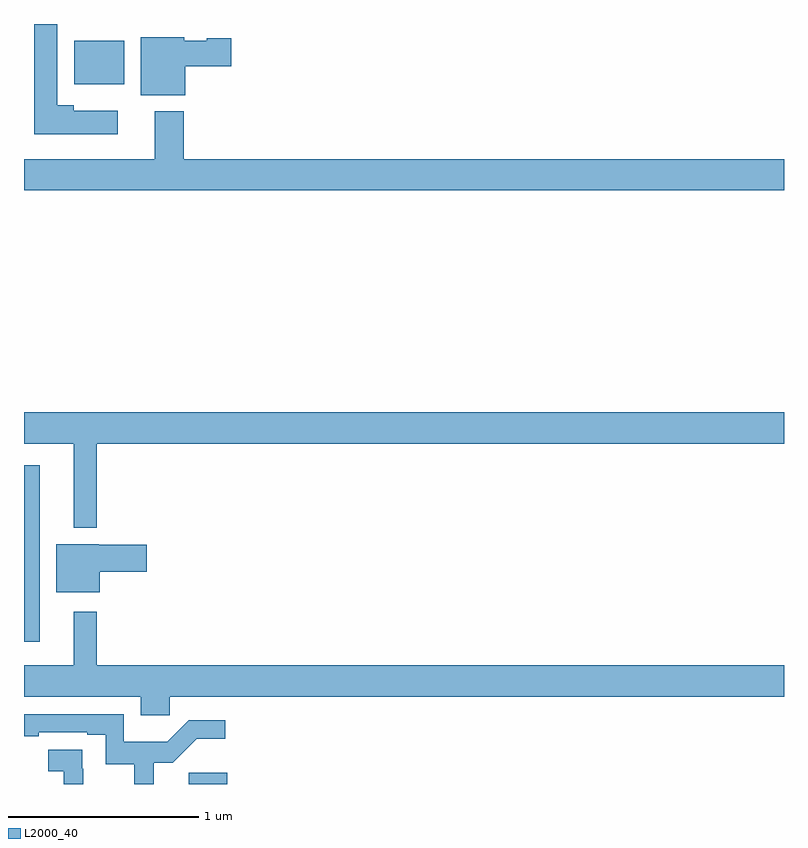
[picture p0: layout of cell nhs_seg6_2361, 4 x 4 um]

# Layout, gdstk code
import gdstk
lib = gdstk.Library(unit=1e-6, precision=1e-09)
def R(c, l, rs):  # rectangles x0, y0, x1, y1
    for r in rs: c.add(gdstk.rectangle(r[:2], r[2:], *l))
def P(c, l, *ps):  # polygons
    for p in ps: c.add(gdstk.Polygon(p, *l))
L2000_40 = (2000, 40)

nhs_seg6_2361 = lib.new_cell('nhs_seg6_2361')
R(nhs_seg6_2361, L2000_40, [(251.867,989.5,252.07,989.56), (251,990.249,251.083,991.177), (251.264,993.182,251.527,993.412)])
P(nhs_seg6_2361, L2000_40, [(251.494,993.043),(251.263,993.043),(251.263,993.073),(251.176,993.073),(251.176,993.5),(251.054,993.5),(251.054,992.921),(251.494,992.921)],
  [(251.848,993.278),(252.091,993.278),(252.091,993.425),(251.961,993.425),(251.961,993.412),(251.844,993.412),(251.844,993.43),(251.615,993.43),(251.615,993.125),(251.848,993.125)],
  [(255,992.788),(251.84,992.788),(251.84,993.04),(251.687,993.04),(251.687,992.788),(251,992.788),(251,992.624),(255,992.624)],
  [(251.383,991.292),(255,991.292),(255,991.456),(251,991.456),(251,991.292),(251.261,991.292),(251.261,990.848),(251.383,990.848)],
  [(251.398,990.616),(251.647,990.616),(251.647,990.758),(251.394,990.758),(251.394,990.763),(251.171,990.763),(251.171,990.509),(251.398,990.509)],
  [(251.767,989.96),(255,989.96),(255,990.124),(251.383,990.124),(251.383,990.406),(251.261,990.406),(251.261,990.124),(251,990.124),(251,989.96),(251.615,989.96),(251.615,989.862),(251.767,989.862)],
  [(251.684,989.613),(251.783,989.613),(251.909,989.738),(252.058,989.738),(252.058,989.835),(251.868,989.835),(251.755,989.722),(251.526,989.722),(251.526,989.868),(251,989.868),(251,989.752),(251.077,989.752),(251.077,989.772),(251.333,989.772),(251.333,989.758),(251.43,989.758),(251.43,989.605),(251.581,989.605),(251.581,989.5),(251.684,989.5)],
  [(251.312,989.579),(251.306,989.579),(251.306,989.681),(251.127,989.681),(251.127,989.566),(251.209,989.566),(251.209,989.5),(251.312,989.5)])

lib.write_gds('nhs_seg6_2361.gds')
